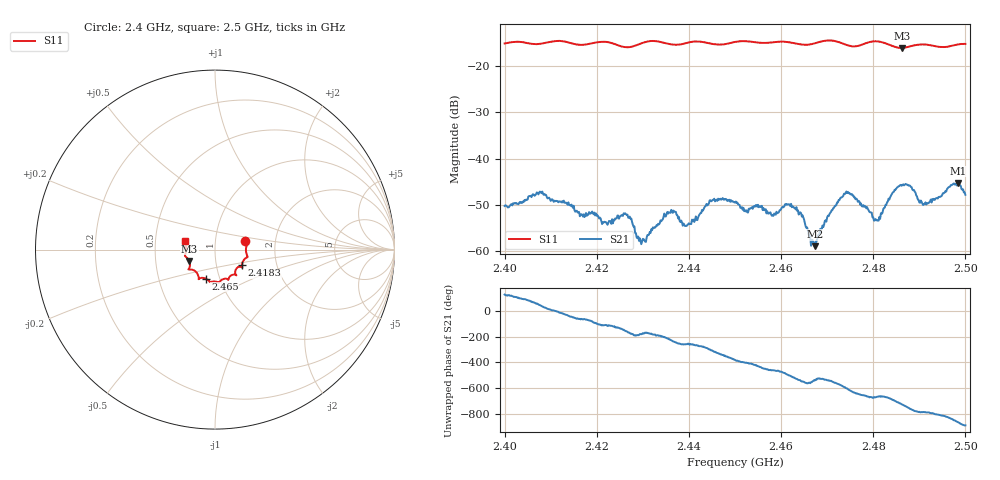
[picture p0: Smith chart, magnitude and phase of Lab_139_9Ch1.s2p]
# Hz S RI R 50
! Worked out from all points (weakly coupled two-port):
!   601 points, 2.4 GHz to 2.5 GHz, reference 50 ohm
!   highest |S21| = -45.21 dB at 2.4983 GHz (marker M1); lowest = -58.9 dB at 2.4673 GHz (marker M2)
!   lowest |S11| = -16.1 dB at 2.4862 GHz (marker M3), VSWR 1.37, Z = 37.2 - j4.81 ohm
!   |S11| at or under -10 dB: start of sweep to end of sweep
!   S12 and S22 are empty: the file has one direction only
!   S11 on the Smith chart (normalised r, x): 2.4 GHz: 1.40, +0.13; 2.4183 GHz: 1.33, -0.24; 2.465 GHz: 0.86, -0.28; 2.5 GHz: 0.71, +0.07
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2.4e9  0.1687 0.0465  -0.00183 0.0025  0 0  0 0
2.407667e9  0.1732 -0.0115  0.00319 0.00306  0 0  0 0
2.416667e9  0.1548 -0.068  0.00117 -0.00223  0 0  0 0
2.418333e9  0.15 -0.087  0.000694 -0.00257  0 0  0 0
2.426333e9  0.1225 -0.102  -0.00234 -0.000923  0 0  0 0
2.43e9  0.1138 -0.1367  -0.00136 -0.000142  0 0  0 0
2.433333e9  0.1177 -0.1413  -0.00195 0.000385  0 0  0 0
2.436667e9  0.0936 -0.142  -0.00144 0.00235  0 0  0 0
2.439667e9  0.0762 -0.1609  -0.000372 0.0019  0 0  0 0
2.45e9  0.0256 -0.1801  0.00315 -0.0012  0 0  0 0
2.458333e9  -0.0197 -0.1795  -0.000495 -0.00237  0 0  0 0
2.461667e9  -0.031 -0.1778  -0.00253 -0.00201  0 0  0 0
2.465e9  -0.0524 -0.1613  -0.00215 0.000468  0 0  0 0
2.466667e9  -0.0711 -0.1572  -0.00129 0.000299  0 0  0 0
2.467333e9  -0.0781 -0.1578  -0.00114 -2.22e-06  0 0  0 0
2.474e9  -0.0943 -0.1419  -0.00221 0.00363  0 0  0 0
2.480667e9  -0.148 -0.1106  0.00137 0.00167  0 0  0 0
2.483333e9  -0.141 -0.0966  0.00271 0.00253  0 0  0 0
2.486167e9  -0.1433 -0.0631  0.00508 -0.000538  0 0  0 0
2.491167e9  -0.1674 -0.0331  0.00131 -0.003  0 0  0 0
2.498333e9  -0.1664 0.0382  -0.00439 -0.00331  0 0  0 0
2.5e9  -0.1667 0.0472  -0.00401 -0.000772  0 0  0 0
